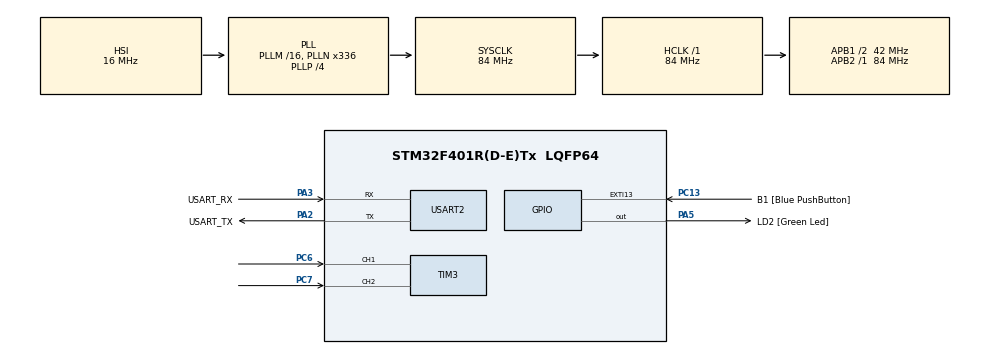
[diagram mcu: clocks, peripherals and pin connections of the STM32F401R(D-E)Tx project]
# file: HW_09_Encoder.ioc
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Dma.Request0=USART2_TX
Dma.USART2_TX.0.Direction=DMA_MEMORY_TO_PERIPH
Dma.USART2_TX.0.FIFOMode=DMA_FIFOMODE_DISABLE
Dma.USART2_TX.0.Instance=DMA1_Stream6
Dma.USART2_TX.0.MemDataAlignment=DMA_MDATAALIGN_BYTE
Dma.USART2_TX.0.MemInc=DMA_MINC_ENABLE
Dma.USART2_TX.0.Mode=DMA_NORMAL
Dma.USART2_TX.0.PeriphDataAlignment=DMA_PDATAALIGN_BYTE
Dma.USART2_TX.0.PeriphInc=DMA_PINC_DISABLE
Dma.USART2_TX.0.Priority=DMA_PRIORITY_LOW
Mcu.Family=STM32F4
Mcu.Name=STM32F401R(D-E)Tx
Mcu.Package=LQFP64
NVIC.DMA1_Stream6_IRQn=true\:0\:0\:false\:false\:true\:false\:true\:true
NVIC.PriorityGroup=NVIC_PRIORITYGROUP_0
NVIC.TIM2_IRQn=true\:0\:0\:false\:false\:true\:true\:true\:true
NVIC.USART2_IRQn=true\:0\:0\:false\:false\:true\:true\:true\:true
PA13.GPIO_Label=TMS
PA13.Mode=Serial_Wire
PA13.Signal=SYS_JTMS-SWDIO
PA14.GPIO_Label=TCK
PA14.Mode=Serial_Wire
PA14.Signal=SYS_JTCK-SWCLK
PA2.GPIO_Label=USART_TX
PA2.GPIO_Mode=GPIO_MODE_AF_PP
PA2.GPIO_PuPd=GPIO_NOPULL
PA2.GPIO_Speed=GPIO_SPEED_FREQ_LOW
PA2.Mode=Asynchronous
PA2.Signal=USART2_TX
PA3.GPIO_Label=USART_RX
PA3.GPIO_Mode=GPIO_MODE_AF_PP
PA3.GPIO_PuPd=GPIO_NOPULL
PA3.GPIO_Speed=GPIO_SPEED_FREQ_LOW
PA3.Mode=Asynchronous
PA3.Signal=USART2_RX
PA5.GPIO_Label=LD2 [Green Led]
PA5.GPIO_Mode=GPIO_MODE_OUTPUT_PP
PA5.GPIO_PuPd=GPIO_NOPULL
PA5.GPIO_Speed=GPIO_SPEED_FREQ_LOW
PA5.Signal=GPIO_Output
PB3.GPIO_Label=SWO
PB3.Signal=SYS_JTDO-SWO
PC13-ANTI_TAMP.GPIO_Label=B1 [Blue PushButton]
PC13-ANTI_TAMP.GPIO_ModeDefaultEXTI=GPIO_MODE_IT_FALLING
PC13-ANTI_TAMP.GPIO_PuPd=GPIO_NOPULL
PC13-ANTI_TAMP.Signal=GPXTI13
PC14-OSC32_IN.Mode=LSE-External-Oscillator
PC14-OSC32_IN.Signal=RCC_OSC32_IN
PC15-OSC32_OUT.Mode=LSE-External-Oscillator
PC15-OSC32_OUT.Signal=RCC_OSC32_OUT
PC6.Signal=S_TIM3_CH1
PC7.Signal=S_TIM3_CH2
PH0\ -\ OSC_IN.Mode=HSE-External-Clock-Source
PH0\ -\ OSC_IN.Signal=RCC_OSC_IN
PH1\ -\ OSC_OUT.Mode=HSE-External-Clock-Source
PH1\ -\ OSC_OUT.Signal=RCC_OSC_OUT
ProjectManager.HeapSize=0x200
ProjectManager.StackSize=0x400
ProjectManager.TargetToolchain=STM32CubeIDE
RCC.48MHZClocksFreq_Value=48000000
RCC.AHBFreq_Value=84000000
RCC.APB1CLKDivider=RCC_HCLK_DIV2
RCC.APB1Freq_Value=42000000
RCC.APB1TimFreq_Value=84000000
RCC.APB2Freq_Value=84000000
RCC.APB2TimFreq_Value=84000000
RCC.CortexFreq_Value=84000000
RCC.HCLKFreq_Value=84000000
RCC.HSE_VALUE=8000000
RCC.HSI_VALUE=16000000
RCC.PLLN=336
RCC.PLLP=RCC_PLLP_DIV4
RCC.PLLQ=7
RCC.SYSCLKFreq_VALUE=84000000
RCC.SYSCLKSource=RCC_SYSCLKSOURCE_PLLCLK
RCC.VCOOutputFreq_Value=336000000
SH.S_TIM3_CH1.0=TIM3_CH1,Encoder_Interface
SH.S_TIM3_CH2.0=TIM3_CH2,Encoder_Interface
TIM2.Period=84000-1
TIM2.Prescaler=1000-1
TIM3.IC1Filter=15
TIM3.IC1Polarity=TIM_ICPOLARITY_FALLING
TIM3.IC2Filter=15
USART2.VirtualMode=VM_ASYNC
VP_TIM2_VS_ClockSourceINT.Mode=Internal
board=NUCLEO-F401RE

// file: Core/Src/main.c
/* USER CODE BEGIN Header */
/**
 ******************************************************************************
 * @file           : main.c
 * @brief          : Main program body
 ******************************************************************************
 * @attention
 *
 * Copyright (c) 2022 STMicroelectronics.
 * All rights reserved.
 *
 * This software is licensed under terms that can be found in the LICENSE file
 * in the root directory of this software component.
 * If no LICENSE file comes with this software, it is provided AS-IS.
 *
 ******************************************************************************
 */
/* USER CODE END Header */
#include "main.h"

/* USER CODE BEGIN Includes */
#include <stdio.h>
/* USER CODE END Includes */

TIM_HandleTypeDef htim2;
TIM_HandleTypeDef htim3;

UART_HandleTypeDef huart2;
DMA_HandleTypeDef hdma_usart2_tx;

void SystemClock_Config(void);
static void MX_GPIO_Init(void);
static void MX_DMA_Init(void);
static void MX_USART2_UART_Init(void);
static void MX_TIM3_Init(void);
static void MX_TIM2_Init(void);

/* USER CODE BEGIN 0 */
int check = 0;
void HAL_TIM_PeriodElapsedCallback(TIM_HandleTypeDef *htim) {
	if (htim == &htim2)
		if (!check)
			check = 1;
}

/* USER CODE END 0 */

int main(void)
{

  /* MCU Configuration--------------------------------------------------------*/

  /* Reset of all peripherals, Initializes the Flash interface and the Systick. */
  HAL_Init();

  /* Configure the system clock */
  SystemClock_Config();

  /* Initialize all configured peripherals */
  MX_GPIO_Init();
  MX_DMA_Init();
  MX_USART2_UART_Init();
  MX_TIM3_Init();
  MX_TIM2_Init();
  /* USER CODE BEGIN 2 */
	HAL_TIM_Base_Start_IT(&htim2);
	HAL_TIM_Encoder_Start(&htim3, TIM_CHANNEL_ALL);
	//reads all the channels

	uint16_t counts = 0;
	uint16_t oldcounts = 0;
	int16_t delta = 0;

  /* USER CODE END 2 */

  /* Infinite loop */
  /* USER CODE BEGIN WHILE */
	while (1) {
		if (check) {
			oldcounts = counts;
			counts = __HAL_TIM_GetCounter(&htim3);
			delta = counts - oldcounts;

			//handles overflow and underflow of unsigned integers
			if (delta > 32768) {
				delta -= 65536;
			} else if (delta < -32768) {
				delta += 65536;
			}

			char string[64];
			float rpms = (delta / 24.0) * 60.0;
			int length = snprintf(string, sizeof(string),
					"Value %f\r\n delta %d\r\n counts %d\r\n", rpms, delta,
					counts);

			HAL_UART_Transmit_DMA(&huart2, (uint8_t*) string, length);
			check = 0;
		}

    /* USER CODE END WHILE */

	}
}

void SystemClock_Config(void)
{
  RCC_OscInitTypeDef RCC_OscInitStruct = {0};
  RCC_ClkInitTypeDef RCC_ClkInitStruct = {0};

  /** Configure the main internal regulator output voltage
  */
  __HAL_RCC_PWR_CLK_ENABLE();
  __HAL_PWR_VOLTAGESCALING_CONFIG(PWR_REGULATOR_VOLTAGE_SCALE2);

  /** Initializes the RCC Oscillators according to the specified parameters
  * in the RCC_OscInitTypeDef structure.
  */
  RCC_OscInitStruct.OscillatorType = RCC_OSCILLATORTYPE_HSI;
  RCC_OscInitStruct.HSIState = RCC_HSI_ON;
  RCC_OscInitStruct.HSICalibrationValue = RCC_HSICALIBRATION_DEFAULT;
  RCC_OscInitStruct.PLL.PLLState = RCC_PLL_ON;
  RCC_OscInitStruct.PLL.PLLSource = RCC_PLLSOURCE_HSI;
  RCC_OscInitStruct.PLL.PLLM = 16;
  RCC_OscInitStruct.PLL.PLLN = 336;
  RCC_OscInitStruct.PLL.PLLP = RCC_PLLP_DIV4;
  RCC_OscInitStruct.PLL.PLLQ = 7;
  if (HAL_RCC_OscConfig(&RCC_OscInitStruct) != HAL_OK)
  {
    Error_Handler();
  }

  /** Initializes the CPU, AHB and APB buses clocks
  */
  RCC_ClkInitStruct.ClockType = RCC_CLOCKTYPE_HCLK|RCC_CLOCKTYPE_SYSCLK
                              |RCC_CLOCKTYPE_PCLK1|RCC_CLOCKTYPE_PCLK2;
  RCC_ClkInitStruct.SYSCLKSource = RCC_SYSCLKSOURCE_PLLCLK;
  RCC_ClkInitStruct.AHBCLKDivider = RCC_SYSCLK_DIV1;
  RCC_ClkInitStruct.APB1CLKDivider = RCC_HCLK_DIV2;
  RCC_ClkInitStruct.APB2CLKDivider = RCC_HCLK_DIV1;

  if (HAL_RCC_ClockConfig(&RCC_ClkInitStruct, FLASH_LATENCY_2) != HAL_OK)
  {
    Error_Handler();
  }
}

static void MX_TIM2_Init(void)
{

  TIM_ClockConfigTypeDef sClockSourceConfig = {0};
  TIM_MasterConfigTypeDef sMasterConfig = {0};

  htim2.Instance = TIM2;
  htim2.Init.Prescaler = 1000-1;
  htim2.Init.CounterMode = TIM_COUNTERMODE_UP;
  htim2.Init.Period = 84000-1;
  htim2.Init.ClockDivision = TIM_CLOCKDIVISION_DIV1;
  htim2.Init.AutoReloadPreload = TIM_AUTORELOAD_PRELOAD_DISABLE;
  if (HAL_TIM_Base_Init(&htim2) != HAL_OK)
  {
    Error_Handler();
  }
  sClockSourceConfig.ClockSource = TIM_CLOCKSOURCE_INTERNAL;
  if (HAL_TIM_ConfigClockSource(&htim2, &sClockSourceConfig) != HAL_OK)
  {
    Error_Handler();
  }
  sMasterConfig.MasterOutputTrigger = TIM_TRGO_RESET;
  sMasterConfig.MasterSlaveMode = TIM_MASTERSLAVEMODE_DISABLE;
  if (HAL_TIMEx_MasterConfigSynchronization(&htim2, &sMasterConfig) != HAL_OK)
  {
    Error_Handler();
  }

}

static void MX_TIM3_Init(void)
{

  TIM_Encoder_InitTypeDef sConfig = {0};
  TIM_MasterConfigTypeDef sMasterConfig = {0};

  htim3.Instance = TIM3;
  htim3.Init.Prescaler = 0;
  htim3.Init.CounterMode = TIM_COUNTERMODE_UP;
  htim3.Init.Period = 65535;
  htim3.Init.ClockDivision = TIM_CLOCKDIVISION_DIV1;
  htim3.Init.AutoReloadPreload = TIM_AUTORELOAD_PRELOAD_DISABLE;
  sConfig.EncoderMode = TIM_ENCODERMODE_TI1;
  sConfig.IC1Polarity = TIM_ICPOLARITY_FALLING;
  sConfig.IC1Selection = TIM_ICSELECTION_DIRECTTI;
  sConfig.IC1Prescaler = TIM_ICPSC_DIV1;
  sConfig.IC1Filter = 15;
  sConfig.IC2Polarity = TIM_ICPOLARITY_RISING;
  sConfig.IC2Selection = TIM_ICSELECTION_DIRECTTI;
  sConfig.IC2Prescaler = TIM_ICPSC_DIV1;
  sConfig.IC2Filter = 15;
  if (HAL_TIM_Encoder_Init(&htim3, &sConfig) != HAL_OK)
  {
    Error_Handler();
  }
  sMasterConfig.MasterOutputTrigger = TIM_TRGO_RESET;
  sMasterConfig.MasterSlaveMode = TIM_MASTERSLAVEMODE_DISABLE;
  if (HAL_TIMEx_MasterConfigSynchronization(&htim3, &sMasterConfig) != HAL_OK)
  {
    Error_Handler();
  }

}

static void MX_USART2_UART_Init(void)
{

  huart2.Instance = USART2;
  huart2.Init.BaudRate = 115200;
  huart2.Init.WordLength = UART_WORDLENGTH_8B;
  huart2.Init.StopBits = UART_STOPBITS_1;
  huart2.Init.Parity = UART_PARITY_NONE;
  huart2.Init.Mode = UART_MODE_TX_RX;
  huart2.Init.HwFlowCtl = UART_HWCONTROL_NONE;
  huart2.Init.OverSampling = UART_OVERSAMPLING_16;
  if (HAL_UART_Init(&huart2) != HAL_OK)
  {
    Error_Handler();
  }

}

static void MX_DMA_Init(void)
{

  /* DMA controller clock enable */
  __HAL_RCC_DMA1_CLK_ENABLE();

  /* DMA interrupt init */
  /* DMA1_Stream6_IRQn interrupt configuration */
  HAL_NVIC_SetPriority(DMA1_Stream6_IRQn, 0, 0);
  HAL_NVIC_EnableIRQ(DMA1_Stream6_IRQn);

}

static void MX_GPIO_Init(void)
{
  GPIO_InitTypeDef GPIO_InitStruct = {0};

  /* GPIO Ports Clock Enable */
  __HAL_RCC_GPIOC_CLK_ENABLE();
  __HAL_RCC_GPIOH_CLK_ENABLE();
  __HAL_RCC_GPIOA_CLK_ENABLE();
  __HAL_RCC_GPIOB_CLK_ENABLE();

  /*Configure GPIO pin Output Level */
  HAL_GPIO_WritePin(LD2_GPIO_Port, LD2_Pin, GPIO_PIN_RESET);

  /*Configure GPIO pin : B1_Pin */
  GPIO_InitStruct.Pin = B1_Pin;
  GPIO_InitStruct.Mode = GPIO_MODE_IT_FALLING;
  GPIO_InitStruct.Pull = GPIO_NOPULL;
  HAL_GPIO_Init(B1_GPIO_Port, &GPIO_InitStruct);

  /*Configure GPIO pin : LD2_Pin */
  GPIO_InitStruct.Pin = LD2_Pin;
  GPIO_InitStruct.Mode = GPIO_MODE_OUTPUT_PP;
  GPIO_InitStruct.Pull = GPIO_NOPULL;
  GPIO_InitStruct.Speed = GPIO_SPEED_FREQ_LOW;
  HAL_GPIO_Init(LD2_GPIO_Port, &GPIO_InitStruct);

}

void Error_Handler(void)
{
	__disable_irq();
	while (1) {
	}
}
